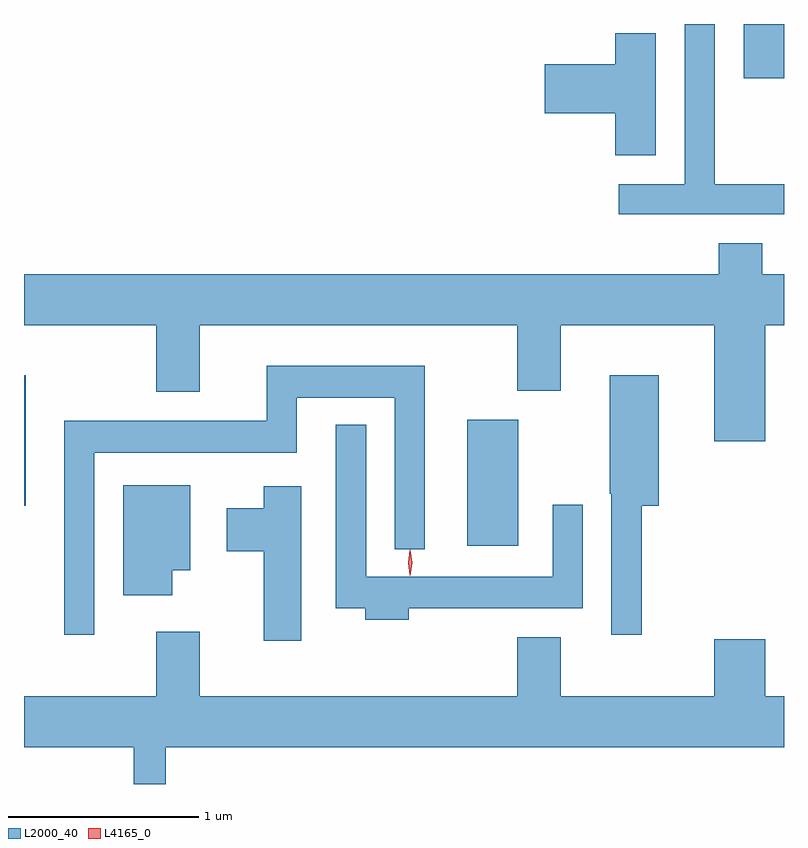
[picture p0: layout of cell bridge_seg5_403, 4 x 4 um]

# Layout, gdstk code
import gdstk
lib = gdstk.Library(unit=1e-6, precision=1e-09)
def R(c, l, rs):  # rectangles x0, y0, x1, y1
    for r in rs: c.add(gdstk.rectangle(r[:2], r[2:], *l))
def P(c, l, *ps):  # polygons
    for p in ps: c.add(gdstk.Polygon(p, *l))
L2000_40 = (2000, 40)
L4165_0 = (4165, 0)

bridge_seg5_403 = lib.new_cell('bridge_seg5_403')
R(bridge_seg5_403, L2000_40, [(533.456,1513.356,533.724,1514.019), (531.124,1513.566,531.134,1514.254), (534.911,1515.816,535.124,1516.102)])
P(bridge_seg5_403, L2000_40, [(535.124,1515.259),(534.759,1515.259),(534.759,1516.102),(534.601,1516.102),(534.601,1515.259),(534.253,1515.259),(534.253,1515.101),(535.124,1515.101)],
  [(534.449,1516.054),(534.236,1516.054),(534.236,1515.889),(533.866,1515.889),(533.866,1515.631),(534.236,1515.631),(534.236,1515.411),(534.449,1515.411)],
  [(535.024,1514.516),(535.124,1514.516),(535.124,1514.784),(535.009,1514.784),(535.009,1514.949),(534.781,1514.949),(534.781,1514.784),(531.124,1514.784),(531.124,1514.516),(531.821,1514.516),(531.821,1514.166),(532.049,1514.166),(532.049,1514.516),(533.721,1514.516),(533.721,1514.171),(533.949,1514.171),(533.949,1514.516),(534.756,1514.516),(534.756,1513.906),(535.024,1513.906)],
  [(531.494,1513.846),(532.559,1513.846),(532.559,1514.136),(533.076,1514.136),(533.076,1513.338),(533.234,1513.338),(533.234,1514.304),(532.401,1514.304),(532.401,1514.014),(531.336,1514.014),(531.336,1512.888),(531.494,1512.888)],
  [(534.374,1513.566),(534.464,1513.566),(534.464,1514.254),(534.206,1514.254),(534.206,1513.63),(534.216,1513.63),(534.216,1512.888),(534.374,1512.888)],
  [(533.149,1513.026),(534.064,1513.026),(534.064,1513.573),(533.906,1513.573),(533.906,1513.194),(532.924,1513.194),(532.924,1513.993),(532.766,1513.993),(532.766,1513.026),(532.921,1513.026),(532.921,1512.966),(533.149,1512.966)],
  [(531.904,1513.226),(531.999,1513.226),(531.999,1513.674),(531.646,1513.674),(531.646,1513.096),(531.904,1513.096)],
  [(532.584,1513.669),(532.386,1513.669),(532.386,1513.554),(532.191,1513.554),(532.191,1513.326),(532.386,1513.326),(532.386,1512.856),(532.584,1512.856)],
  [(531.869,1512.296),(535.124,1512.296),(535.124,1512.564),(535.024,1512.564),(535.024,1512.864),(534.756,1512.864),(534.756,1512.564),(533.949,1512.564),(533.949,1512.874),(533.721,1512.874),(533.721,1512.564),(532.049,1512.564),(532.049,1512.904),(531.821,1512.904),(531.821,1512.564),(531.124,1512.564),(531.124,1512.296),(531.701,1512.296),(531.701,1512.102),(531.869,1512.102)])
P(bridge_seg5_403, L4165_0, [(533.157,1513.197),(533.157,1513.197),(533.147,1513.267),(533.157,1513.336),(533.157,1513.336),(533.158,1513.336),(533.167,1513.267),(533.158,1513.197)],
  [(533.156,1513.199),(533.155,1513.2),(533.146,1513.266),(533.155,1513.332),(533.156,1513.333),(533.156,1513.332),(533.166,1513.266),(533.156,1513.2)])

lib.write_gds('bridge_seg5_403.gds')
